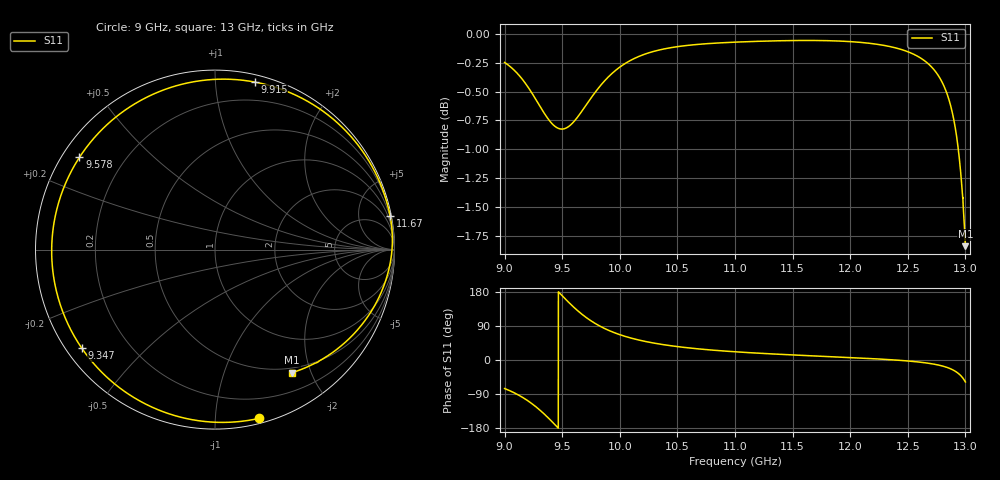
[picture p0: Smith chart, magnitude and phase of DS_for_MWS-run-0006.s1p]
! TOUCHSTONE file generated by CST DESIGN STUDIO
! Date and time: Tue Feb  4 16:45:58 2025
! Project name: C:\Work\MatlabApps\UnitCellOptimizationMatlab\CST\unitcell.cst
! Tree item: Tasks\Sweep1\SPara1\S-Parameters
! Header version: 2024
! Port assignment regex: !\s*Touchstone port\s*([0-9]+)\s*=\s*(CST MWS port|CST DES external port|CST DES block port)\s*(.+)\s* \(\"(.*)\"\)(\s*mode\s*([0-9]+))?.*
! Touchstone port assignment:
! Touchstone port 1 = CST DES external port 1 ("")
# GHz S MA R 50
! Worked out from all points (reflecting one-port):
!   4001 points, 9 GHz to 13 GHz, reference 50 ohm
!   lowest |S11| = -1.8 dB at 13 GHz (marker M1), VSWR 9.47, Z = 21.7 - j86.1 ohm
!   phase of S11 starts at -75 deg and turns -343 deg over the sweep
!   S11 on the Smith chart (normalised r, x): 9 GHz: 0.04, -1.30; 9.347 GHz: 0.04, -0.33; 9.578 GHz: 0.05, +0.31; 9.915 GHz: 0.05, +1.26; 11.67 GHz: 0, +10; 13 GHz: 0.43, -1.72
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9  0.9718 -75.3
9.112  0.9611 -91.1
9.198  0.9491 -106.8
9.274  0.9361 -124.0
9.347  0.9234 -143.4
9.427  0.9127 -167.5
9.464  0.9101 -179.1
9.5  0.9093 169.5
9.578  0.9136 145.7
9.651  0.9228 125.8
9.726  0.9343 108.3
9.81  0.9467 92.3
9.915  0.9595 76.7
10  0.9673 66.8
10.102  0.9744 57.5
10.216  0.9799 49.3
10.5  0.9873 35.4
11  0.9917 21.7
11.5  0.9933 13.4
11.672  0.9934 11.0
12  0.9923 6.5
12.5  0.9823 -2.5
12.712  0.9668 -10.2
12.856  0.9369 -21.3
12.9  0.9176 -27.5
12.935  0.8941 -34.5
12.961  0.8688 -41.7
13  0.8091 -58.0
